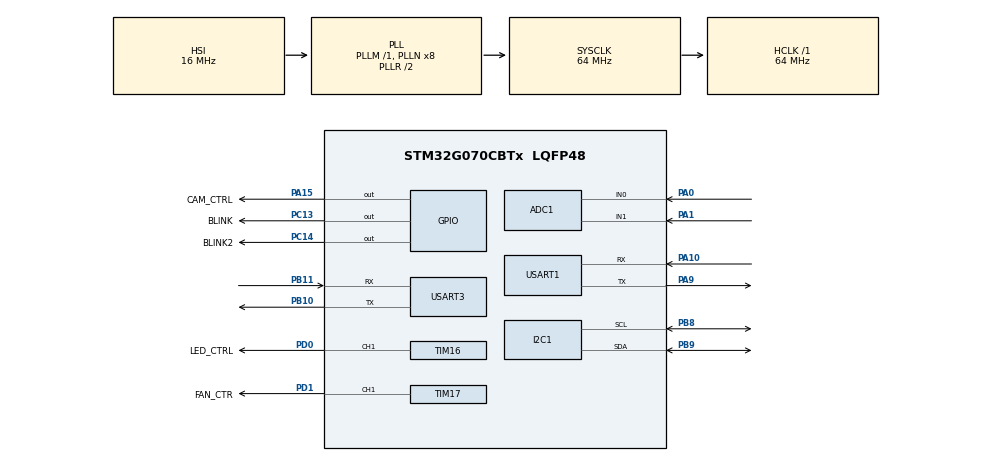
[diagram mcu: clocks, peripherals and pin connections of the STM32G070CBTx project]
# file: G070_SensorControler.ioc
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ADC1.Channel-0\#ChannelRegularConversion=ADC_CHANNEL_0
ADC1.Channel-1\#ChannelRegularConversion=ADC_CHANNEL_1
ADC1.ContinuousConvMode=ENABLE
ADC1.DMAContinuousRequests=ENABLE
ADC1.NbrOfConversion=2
ADC1.NbrOfConversionFlag=1
ADC1.Overrun=ADC_OVR_DATA_OVERWRITTEN
ADC1.Rank-0\#ChannelRegularConversion=1
ADC1.Rank-1\#ChannelRegularConversion=2
ADC1.SamplingTime-0\#ChannelRegularConversion=ADC_SAMPLINGTIME_COMMON_1
ADC1.SamplingTime-1\#ChannelRegularConversion=ADC_SAMPLINGTIME_COMMON_1
ADC1.SamplingTimeCommon1=ADC_SAMPLETIME_160CYCLES_5
ADC1.SamplingTimeCommon2=ADC_SAMPLETIME_19CYCLES_5
ADC1.SelectedChannel=ADC_CHANNEL_0|ADC_CHANNEL_1
ADC1.master=1
Dma.ADC1.0.Direction=DMA_PERIPH_TO_MEMORY
Dma.ADC1.0.EventEnable=DISABLE
Dma.ADC1.0.Instance=DMA1_Channel1
Dma.ADC1.0.MemDataAlignment=DMA_MDATAALIGN_HALFWORD
Dma.ADC1.0.MemInc=DMA_MINC_ENABLE
Dma.ADC1.0.Mode=DMA_CIRCULAR
Dma.ADC1.0.PeriphDataAlignment=DMA_PDATAALIGN_HALFWORD
Dma.ADC1.0.PeriphInc=DMA_PINC_DISABLE
Dma.ADC1.0.Polarity=HAL_DMAMUX_REQ_GEN_RISING
Dma.ADC1.0.Priority=DMA_PRIORITY_LOW
Dma.ADC1.0.RequestNumber=1
Dma.ADC1.0.SignalID=NONE
Dma.ADC1.0.SyncEnable=DISABLE
Dma.ADC1.0.SyncPolarity=HAL_DMAMUX_SYNC_NO_EVENT
Dma.ADC1.0.SyncRequestNumber=1
Dma.ADC1.0.SyncSignalID=NONE
Dma.Request0=ADC1
I2C1.Timing=0x10707DBC
IWDG.Prescaler=IWDG_PRESCALER_32
IWDG.Reload=1000
Mcu.Family=STM32G0
Mcu.Name=STM32G070CBTx
Mcu.Package=LQFP48
NVIC.DMA1_Channel1_IRQn=true\:0\:0\:false\:false\:true\:false\:true\:true
NVIC.TIM3_IRQn=true\:0\:0\:false\:false\:true\:true\:true\:true
NVIC.USART1_IRQn=true\:0\:0\:false\:false\:true\:true\:true\:true
NVIC.USART3_4_IRQn=true\:0\:0\:false\:false\:true\:true\:true\:true
PA0.Mode=IN0
PA0.Signal=ADC1_IN0
PA1.Mode=IN1
PA1.Signal=ADC1_IN1
PA10.Mode=Asynchronous
PA10.Signal=USART1_RX
PA13.Mode=Serial_Wire
PA13.Signal=SYS_SWDIO
PA14-BOOT0.Mode=Serial_Wire
PA14-BOOT0.Signal=SYS_SWCLK
PA15.GPIO_Label=CAM_CTRL
PA15.PinState=GPIO_PIN_SET
PA15.Signal=GPIO_Output
PA9.Mode=Asynchronous
PA9.Signal=USART1_TX
PB10.Mode=Asynchronous
PB10.Signal=USART3_TX
PB11.Mode=Asynchronous
PB11.Signal=USART3_RX
PB8.Mode=I2C
PB8.Signal=I2C1_SCL
PB9.Mode=I2C
PB9.Signal=I2C1_SDA
PC13.GPIO_Label=BLINK
PC13.PinState=GPIO_PIN_SET
PC13.Signal=GPIO_Output
PC14-OSC32_IN\ (PC14).GPIO_Label=BLINK2
PC14-OSC32_IN\ (PC14).PinState=GPIO_PIN_SET
PC14-OSC32_IN\ (PC14).Signal=GPIO_Output
PD0.GPIO_Label=LED_CTRL
PD0.Signal=S_TIM16_CH1
PD1.GPIO_Label=FAN_CTR
PD1.Signal=S_TIM17_CH1
ProjectManager.HeapSize=0x200
ProjectManager.StackSize=0x400
ProjectManager.TargetToolchain=MDK-ARM V5.32
RCC.ADCFreq_Value=64000000
RCC.AHBFreq_Value=64000000
RCC.CortexFreq_Value=64000000
RCC.EXTERNAL_CLOCK_VALUE=48000
RCC.HCLKFreq_Value=64000000
RCC.HSE_VALUE=8000000
RCC.HSI_VALUE=16000000
RCC.LSE_VALUE=32768
RCC.SYSCLKFreq_VALUE=64000000
RCC.SYSCLKSource=RCC_SYSCLKSOURCE_PLLCLK
RCC.VCOOutputFreq_Value=128000000
SH.S_TIM16_CH1.0=TIM16_CH1,PWM Generation1 CH1
SH.S_TIM17_CH1.0=TIM17_CH1,PWM Generation1 CH1
TIM16.Channel=TIM_CHANNEL_1
TIM16.Period=999
TIM16.Prescaler=6400-1
TIM16.Pulse=500
TIM17.Channel=TIM_CHANNEL_1
TIM17.Period=99
TIM17.Prescaler=6400-1
TIM3.Period=9999
TIM3.Prescaler=6400-1
USART1.VirtualMode-Asynchronous=VM_ASYNC
USART3.VirtualMode-Asynchronous=VM_ASYNC
VP_IWDG_VS_IWDG.Mode=IWDG_Activate
VP_SYS_VS_DBSignals.Mode=DisableDeadBatterySignals
VP_TIM16_VS_ClockSourceINT.Mode=Enable_Timer
VP_TIM17_VS_ClockSourceINT.Mode=Enable_Timer
VP_TIM3_VS_ClockSourceINT.Mode=Internal
board=custom

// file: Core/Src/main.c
/* USER CODE BEGIN Header */
/**
 ******************************************************************************
 * @file           : main.c
 * @brief          : Main program body
 ******************************************************************************
 * @attention
 *
 * Copyright (c) 2023 STMicroelectronics.
 * All rights reserved.
 *
 * This software is licensed under terms that can be found in the LICENSE file
 * in the root directory of this software component.
 * If no LICENSE file comes with this software, it is provided AS-IS.
 *
 ******************************************************************************
 */
/* USER CODE END Header */
#include "main.h"
#include "adc.h"
#include "dma.h"
#include "i2c.h"
#include "iwdg.h"
#include "tim.h"
#include "usart.h"
#include "gpio.h"

/* USER CODE BEGIN Includes */
#include <math.h>
#include <string.h>
#include "chry_ringbuffer.h"
#include "stdio.h"
/* USER CODE END Includes */

/* USER CODE BEGIN PD */
#define SYS_LOG_OUT 1
/* USER CODE END PD */

void SystemClock_Config(void);

/* USER CODE BEGIN 0 */

#define DIGITAL_SCALE_12BITS ((uint32_t)0xFFF)

/* Init variable out of ADC expected conversion data range */
#define VAR_CONVERTED_DATA_INIT_VALUE (DIGITAL_SCALE_12BITS + 1)

/* Definition of ADCx conversions data table size */
#define ADC_CONVERTED_DATA_BUFFER_SIZE ((uint32_t)2)
/* Variables for ADC conversion data */
__IO uint16_t aADCxConvertedData[ADC_CONVERTED_DATA_BUFFER_SIZE]; /* ADC group regular conversion data (array of data) */

struct __statusData
{
  uint8_t cam_power;
  uint8_t fan_power;
  uint8_t led_power;
  uint8_t alarm_timUP;
  uint16_t AHT20_humidity; // 100.00  ->2
  uint16_t AHT20_temperature;
  uint16_t NTC1_temperature;
  uint16_t NTC2_temperature;
} sysStatusData;

uint8_t powerControlFunc()
{
  static uint8_t f_cam_power = 1, f_fan_power = 0, f_led_power = 0;

  if (sysStatusData.cam_power != f_cam_power)
  {
    if (sysStatusData.cam_power)
    {
      HAL_GPIO_WritePin(CAM_CTRL_GPIO_Port, CAM_CTRL_Pin, GPIO_PIN_SET);
    }
    else
    {
      HAL_GPIO_WritePin(CAM_CTRL_GPIO_Port, CAM_CTRL_Pin, GPIO_PIN_RESET);
    }
  }
  if (sysStatusData.led_power != f_led_power)
  {
    // if (0 == sysStatusData.led_power)
    // {
    //   HAL_GPIO_WritePin(LED_CTRL_GPIO_Port, LED_CTRL_Pin, GPIO_PIN_SET);
    // }
    // else
    // {
    //   HAL_GPIO_WritePin(LED_CTRL_GPIO_Port, LED_CTRL_Pin, GPIO_PIN_RESET);
    // }
    // 10Hz
    if (0 == sysStatusData.led_power)
    {
      // 100%
      __HAL_TIM_SET_AUTORELOAD(&htim16, 999);
      __HAL_TIM_SET_COMPARE(&htim16, TIM_CHANNEL_1, 998);
    }
    else if (1 == sysStatusData.led_power)
    {
      // 0%
      __HAL_TIM_SET_COMPARE(&htim16, TIM_CHANNEL_1, 0);
    }
    else if (2 == sysStatusData.led_power)
    {
      // 5Hz 50%
      __HAL_TIM_SET_AUTORELOAD(&htim16, 1000 * 2 - 1);
      __HAL_TIM_SET_COMPARE(&htim16, TIM_CHANNEL_1, 1000);
    }
    else if (3 == sysStatusData.led_power)
    {
      // 1Hz  50%
      __HAL_TIM_SET_AUTORELOAD(&htim16, 10000 - 1);
      __HAL_TIM_SET_COMPARE(&htim16, TIM_CHANNEL_1, 5000);
    }
    else if (4 == sysStatusData.led_power)
    {
      // 0.5Hz 10%
      __HAL_TIM_SET_AUTORELOAD(&htim16, 10000 * 2 - 1);
      __HAL_TIM_SET_COMPARE(&htim16, TIM_CHANNEL_1, 2000);
    }
  }
  if (sysStatusData.fan_power != f_fan_power)
  {
    if (sysStatusData.fan_power >= 9)
      sysStatusData.fan_power = 9;

    __HAL_TIM_SET_COMPARE(&htim17, TIM_CHANNEL_1, 10 * sysStatusData.fan_power);
  }

  f_cam_power = sysStatusData.cam_power;
  f_fan_power = sysStatusData.fan_power;
  f_led_power = sysStatusData.led_power;

  return 1;
}
uint8_t BLINK_SYS_LED(uint16_t Tcounter)
{
  static uint16_t tick = 0;

  if (tick >= Tcounter)
  {
    HAL_GPIO_TogglePin(BLINK_GPIO_Port, BLINK_Pin);
    HAL_GPIO_TogglePin(BLINK2_GPIO_Port, BLINK2_Pin);
    tick = 0;
#if SYS_LOG_OUT
    printf("\r\n-----SYS INFO-----\r\n");
    printf("sysStatusData.cam_power=%d\n", sysStatusData.cam_power);
    printf("sysStatusData.fan_power=%d\n", sysStatusData.fan_power);
    printf("sysStatusData.led_power=%d\n", sysStatusData.led_power);
    printf("sysStatusData.AHT20_temperature=%d.%d\n", sysStatusData.AHT20_temperature / 100, sysStatusData.AHT20_temperature % 100);
    printf("sysStatusData.AHT20_humidity=%d.%d\n", sysStatusData.AHT20_humidity / 100, sysStatusData.AHT20_humidity % 100);
    printf("sysStatusData.NTC1_temperature=%d.%d\n", sysStatusData.NTC1_temperature / 100, sysStatusData.NTC1_temperature % 100);
    printf("sysStatusData.NTC2_temperature=%d.%d\n", sysStatusData.NTC2_temperature / 100, sysStatusData.NTC2_temperature % 100);
#endif
  }
  else
  {
    tick++;
  }

  return 1;
}
void ADC_APP_Init()
{
  /* Run the ADC calibration */
  if (HAL_ADCEx_Calibration_Start(&hadc1) != HAL_OK)
  {
    /* Calibration Error */
    Error_Handler();
  }

  /*## Start ADC conversions ###############################################*/
  /* Start ADC group regular conversion with DMA */
  if (HAL_ADC_Start_DMA(&hadc1,
                        (uint32_t *)aADCxConvertedData,
                        ADC_CONVERTED_DATA_BUFFER_SIZE) != HAL_OK)
  {
    /* ADC conversion start error */
    Error_Handler();
  }

  //  while (1)
  //  {
  //    HAL_Delay(1000);
  //    printf("aADCxConvertedData[0]=%d,vo1=%.2f\r\n", aADCxConvertedData[0], aADCxConvertedData[0] * 3.3f / 4095.0);
  //    printf("aADCxConvertedData[1]=%d,vo2=%.2f\r\n", aADCxConvertedData[1], aADCxConvertedData[1] * 3.3f / 4095.0);
  //  }
}

/**
Bֵ��
v/3.3=R/(R+10K)
**/
uint8_t ADCTempTransfer_NTC(void)
{
  const float Rp = 10000.0f; // 10K
  const float T2 = (273.15f + 25.0f);
  ;                         // T2
  const float Bx = 3950.0f; // B
  const float Ka = 273.15f;
  float Rt;
  float temp;
  float mvoltage[2];
  for (uint8_t i = 0; i < 2; i++)
  {
    mvoltage[i] = aADCxConvertedData[i] * 3.3f / 4095.0;
    Rt = 10000.0 * mvoltage[i] / 3.3 / (1.0 - mvoltage[i] / 3.3);
    //	Rt = Get_TempResistor();
    // like this R=5000, T2=273.15+25,B=3470, RT=5000*EXP(3470*(1/T1-1/(273.15+25)),
    temp = Rt / Rp;
    temp = log(temp); // ln(Rt/Rp)
    temp /= Bx;       // ln(Rt/Rp)/B
    temp += (1.0 / T2);
    temp = 1.0 / (temp);
    temp -= Ka;

    if ((uint16_t)(temp) >= 500)
      continue;
    if (0 == i)
    {

      sysStatusData.NTC1_temperature = (uint16_t)(temp * 100);
    }
    else if (1 == i)
    {
      sysStatusData.NTC2_temperature = (uint16_t)(temp * 100);
    }
  }

  return 1;
}
void I2C_Device_Identity()
{
  while (1)
  {
    printf("\nI2C init\n");
    uint8_t data[10];
    for (uint8_t i = 0; i < 255; i++)
    {
      uint8_t re = HAL_I2C_Mem_Read(&hi2c1, i, 0, I2C_MEMADD_SIZE_8BIT, data, 1, 0xff);
      if (re == HAL_OK)
        printf("0x%02x ", i);
    }
    printf("\nI2C finish\n");
    HAL_Delay(500);
  }
}

uint8_t CheckCrc8(uint8_t *pDat, uint8_t Lenth)
{
  __IO uint8_t crc = 0xff, i, j;

  for (i = 0; i < Lenth; i++)
  {
    crc = crc ^ *pDat;
    for (j = 0; j < 8; j++)
    {
      if (crc & 0x80)
        crc = (crc << 1) ^ 0x31;
      else
        crc <<= 1;
    }
    pDat++;
  }
  return crc;
}
#define I2C_AHT20_ADDRESS_W 0X70
#define I2C_AHT20_ADDRESS_R 0X71
void AHT20_READ_MACHINE()
{

  __IO uint8_t ReadByte[7];
  uint8_t DATA[2] = {0x33, 0x00};
  uint8_t re;
  uint32_t read_Data;
  float RH, TEMP;
  uint8_t sendbuffer[3] = {0xAC, 0x33, 0x00};
  uint8_t readBuffer[6];

  re = HAL_I2C_Master_Transmit(&hi2c1, I2C_AHT20_ADDRESS_W, sendbuffer, 3, HAL_MAX_DELAY);
  if (re == HAL_OK)
  {
    //    printf("OK:IDLE\n");
  }
  HAL_Delay(75);
  re = HAL_I2C_Master_Receive(&hi2c1, I2C_AHT20_ADDRESS_R, ReadByte, 7, HAL_MAX_DELAY);
  if (re == HAL_OK)
  {
    if ((ReadByte[0] & 0x80) == 0x00)
    {
      //      uint32_t data = 0;
      //      data = ((uint32_t)ReadByte[3] >> 4) + ((uint32_t)ReadByte[2] << 4) + ((uint32_t)ReadByte[1] << 12);
      //      RH = data * 100.0f / (1 << 20);
      //      data = (((uint32_t)ReadByte[3] & 0X0F) << 16) + ((uint32_t)ReadByte[4] << 8) + ((uint32_t)ReadByte[5]);
      //      // sysStatusData.AHT20_humidity = (uint16_t)(RH * 100);
      //      printf("RH=%f\r\n", RH);

      //      TEMP = data * 200.0f / (1 << 20) - 50;
      //      printf("TEMP=%f\r\n", TEMP);
      // sysStatusData.AHT20_temperature = (uint16_t)(TEMP * 100);

      if ((CheckCrc8(ReadByte, 6) == ReadByte[6]) && ((ReadByte[0] & 0x98) == 0x18))
      {
        read_Data = ReadByte[1] * 65536 + ReadByte[2] * 256 + ReadByte[3];
        RH = (read_Data >> 4) * 100.0 / 1048576;

        //        printf("RH2=%f\r\n", RH);
        sysStatusData.AHT20_humidity = (uint16_t)(RH * 100);
        read_Data = 0;
        read_Data = (ReadByte[3] & 0x0F) * 65536 + ReadByte[4] * 256 + ReadByte[5];
        TEMP = read_Data * 200.0 / 1048576 - 50;
        //        printf("TEMP2=%f\r\n", TEMP);
        sysStatusData.AHT20_temperature = (uint16_t)(TEMP * 100);
      }
    }
  }
}
#define AHT20_ADDRESS 0x70
// AHT20的初始化函数
void AHT20_Init()
{
  uint8_t readbuffer;                                                           // 用于接收状态信息
  HAL_Delay(40);                                                                // 延时40ms，因为第一步的上电后要等待40ms
  HAL_I2C_Master_Receive(&hi2c1, AHT20_ADDRESS, &readbuffer, 1, HAL_MAX_DELAY); // 上面介绍了函数的参数作用
  if ((readbuffer & 0x08) == 0x00)                                              //根据手册，首先要看状态字的校准使能位Bit[3]是否为 1(通过发送 0x71可以获取一个字节的状态字)，如果不为1，\
		 要发送0xBE命令(初 始化)，此命令参数有两个字节， 第一个字节为0x08，第二个字节 为0x00。
  {
    uint8_t sendbuffer[3] = {0xBE, 0x08, 0x00};
    HAL_I2C_Master_Transmit(&hi2c1, AHT20_ADDRESS, sendbuffer, 3, HAL_MAX_DELAY);
  }
}
void AHT20_Read(float *Temperature, float *Humidity) // 读取温湿度的函数
{
  uint8_t sendbuffer[3] = {0xAC, 0x33, 0x00};
  uint8_t readBuffer[6];

  HAL_I2C_Master_Transmit(&hi2c1, AHT20_ADDRESS, sendbuffer, 3, HAL_MAX_DELAY);

  HAL_Delay(75);

  HAL_I2C_Master_Receive(&hi2c1, AHT20_ADDRESS + 1, readBuffer, 6, HAL_MAX_DELAY);
  if ((readBuffer[0] & 0x80) == 0x00)
  {
    uint32_t data = 0;

    data = ((uint32_t)readBuffer[3] >> 4) + ((uint32_t)readBuffer[2] << 4) + ((uint32_t)readBuffer[1] << 12);
    *Humidity = data * 100.0f / (1 << 20);
    data = (((uint32_t)readBuffer[3] & 0X0F) << 16) + ((uint32_t)readBuffer[4] << 8) + ((uint32_t)readBuffer[5]);

    *Temperature = data * 200.0f / (1 << 20) - 50;
  }
}

chry_ringbuffer_t UART3rb;
uint8_t UART3mempool[128];
void UART3_Init()
{
  LL_USART_EnableIT_RXNE(USART3);
  /**
   * �????要注意的点是，init 函数第三个参数是内存池的大小（字节为单位�????
   * 也是ringbuffer的深度，必须�???? 2 的幂次！！！�????
   * 例如 4�????16�????32�????64�????128�????1024�????8192�????65536�????
   */
  if (0 == chry_ringbuffer_init(&UART3rb, UART3mempool, 128))
  {
    printf("UART3mempool success\r\n");
  }
  else
  {
    printf("UART3mempool error\r\n");
  }
}
void UART3_SendString(uint8_t *str)
{
  while (*str != '\0')
  {
    while (!LL_USART_IsActiveFlag_TXE(USART3))
      ;
    /* Echo received character on TX */
    LL_USART_TransmitData8(USART3, *str);
    str++;
  }
}

uint8_t uart_task_handle2()
{
  uint8_t data[128];
  uint8_t index = 0;
  uint8_t senddata[50];
  char tempcomArray[][5] = {"ON", "OFF"};
  char *ptr;
  uint8_t len = chry_ringbuffer_read(&UART3rb, data, 50);
  if (len)
  {
    printf("\r\n[C] read success, read %d byte\r\n", len);
    data[50] = '\0';
    printf("%s\r\n", data);
    if (strstr(data, "powerStatus") != NULL)
    {
      sprintf(senddata, "Status,%d,%d,%d,OK\n", sysStatusData.cam_power,
              sysStatusData.led_power, sysStatusData.fan_power);
      UART3_SendString(senddata);
      printf(senddata);
    }
    else if (strstr(data, "sensorData") != NULL)
    {
      sprintf(senddata, "SENSOR,%.1f,%.1f,%.1f,%.1f,OK\n", sysStatusData.NTC1_temperature / 100.0, sysStatusData.NTC2_temperature / 100.0,
              sysStatusData.AHT20_temperature / 100.0, sysStatusData.AHT20_humidity / 100.0);
      UART3_SendString(senddata);
      printf(senddata);
    }
    else if (strstr(data, "SET") != NULL)
    {
      ptr = strchr(data, 'A');
      if (ptr != NULL)
      {
        printf("set cam: %c\n", *(ptr + 1));
        sysStatusData.cam_power = *(ptr + 1) - '0';
      }
      ptr = strchr(data, 'B');
      if (ptr != NULL)
      {
        printf("set led: %c\n", *(ptr + 1));
        sysStatusData.led_power = *(ptr + 1) - '0';
      }

      // ptr=strchr(data,'C');
      // if(ptr != NULL){
      //   uint8_t temp= *(ptr+1)-'0';
      // 	printf("set fan: %d\n", temp);
      // 	sysStatusData.fan_power=temp;
      // }

      sprintf(senddata, "Status,%d,%d,%d,OK\n", sysStatusData.cam_power,
              sysStatusData.led_power, sysStatusData.fan_power);
      UART3_SendString(senddata);
      printf(senddata);
    }
  }

  if (1 == sysStatusData.alarm_timUP)
  {
    printf("\r\n1\r\n");
    sysStatusData.alarm_timUP = 2;
    sprintf(senddata, "Status,%d,%d,%d,OK\n", sysStatusData.cam_power,
            sysStatusData.led_power, sysStatusData.fan_power);
    UART3_SendString(senddata);
    printf(senddata);
  }
  else if (2 == sysStatusData.alarm_timUP)
  {
    printf("\r\n2\r\n");
    sysStatusData.alarm_timUP = 0;
    sprintf(senddata, "SENSOR,%.1f,%.1f,%.1f,%.1f,OK\n", sysStatusData.NTC1_temperature / 100.0, sysStatusData.NTC2_temperature / 100.0,
            sysStatusData.AHT20_temperature / 100.0, sysStatusData.AHT20_humidity / 100.0);
    UART3_SendString(senddata);
    printf(senddata);
  }

  // 加入迟滞比较器
  //  static uint8_t fan_run=0;
  uint8_t t_temp1 = sysStatusData.AHT20_temperature / 100;
  uint8_t t_temp2 = sysStatusData.NTC1_temperature / 100;
  uint8_t t_temp3 = sysStatusData.NTC2_temperature / 100;
  uint8_t tt_temperature = t_temp1 > t_temp2 ? t_temp1 : t_temp2;
  tt_temperature = tt_temperature > t_temp3 ? tt_temperature : t_temp3;
  if (tt_temperature >= 55)
  {
    //    fan_run &=0x2;
    sysStatusData.fan_power = 9;
  }
  else if (tt_temperature >= 45)
  {
    //    fan_run &=0x1;
    sysStatusData.fan_power = 5;
  }
  else if (tt_temperature <= 40)
  {
    //    //低2位清零
    //    fan_run &=0XFC;
    sysStatusData.fan_power = 0;
  }

  // else if(sysStatusData.AHT20_temperature / 100 <= 30)
  // {
  //   fan_run =0;
  // }

  /*
    if (sysStatusData.AHT20_temperature / 100 >= 40 || sysStatusData.NTC1_temperature / 100 >= 40 || sysStatusData.NTC2_temperature / 100 >= 40)
    {
      sysStatusData.fan_power = 1;
    }
    else if (sysStatusData.AHT20_temperature / 100 >= 50 || sysStatusData.NTC1_temperature / 100 >= 50 || sysStatusData.NTC2_temperature / 100 >= 50)
    {
      sysStatusData.fan_power = 9;
    }
    else
    {
      sysStatusData.fan_power = 0;
    }
  */

  return 1;
}

/*
AHT20温湿度读�????-》NTC温度解析-》串口数据解析与发�??-》电源控�????-》blink
*/
enum
{
  IDLE = 0,
  AHT20_READ_STATUS = 1,
  NTC_TEMP_READ_STATUS = 2,
  USART_DATA_ANALYSIS_STATUS = 3,
  POWER_CONTROL_STATUS = 4,
  BLINK_STATUS = 5
} MachineStatus;

void UART3_DEMO()
{
  char data[128];
  //	uart3ReceivedHandler();
  while (1)
  {
    uint32_t len = chry_ringbuffer_read(&UART3rb, data, 50);
    if (len)
    {
      printf("[C] read success, read %d byte\r\n", len);
      data[50] = '\0';
      printf("%s\r\n", data);
    }
    else
    {
      //            printf("[C] read faild, no data in ringbuffer\r\n");
    }
    //				UART3_SendString("HELLO\n");
    HAL_Delay(1000);
  }
}
void HAL_TIM_PeriodElapsedCallback(TIM_HandleTypeDef *htim)
{
  static uint8_t tickUp = 0;
  if (htim->Instance == TIM3)
  {
    if (tickUp < 59)
      tickUp++;
    else
    {
      tickUp = 0;
      sysStatusData.alarm_timUP = 1;
    }
  }
}

/* USER CODE END 0 */

int main(void)
{

  /* MCU Configuration--------------------------------------------------------*/

  /* Reset of all peripherals, Initializes the Flash interface and the Systick. */
  HAL_Init();

  /* Configure the system clock */
  SystemClock_Config();

  /* Initialize all configured peripherals */
  MX_GPIO_Init();
  MX_DMA_Init();
  MX_USART1_UART_Init();
  MX_USART3_UART_Init();
  MX_ADC1_Init();
  MX_I2C1_Init();
  MX_TIM17_Init();
  MX_IWDG_Init();
  MX_TIM3_Init();
  MX_TIM16_Init();
  /* USER CODE BEGIN 2 */
  printf("\r\nsensor controller start\r\n");
  UART3_Init();
  //	UART3_DEMO();
  UART3_SendString("Restart\n");
  HAL_TIM_PWM_Start(&htim17, TIM_CHANNEL_1);
  HAL_TIM_PWM_Start(&htim16, TIM_CHANNEL_1);
    uint8_t com_value=20;
  //  __HAL_TIM_SET_COMPARE(&htim17,TIM_CHANNEL_1,com_value);
  //  uartProtocolTransmit(0xf01,0xf00);
  //  I2C_Device_Identity();
  ADC_APP_Init();
  sysStatusData.cam_power = 1;
  sysStatusData.alarm_timUP = 0;
  HAL_TIM_Base_Start_IT(&htim3);
  sysStatusData.led_power = 1 ;
  //	sysStatusData.fan_power=50;
  //  float temp, hum;
  AHT20_Init();
  if (HAL_IWDG_Refresh(&hiwdg) != HAL_OK)
  {
    /* Refresh Error */
    Error_Handler();
  }
  //  while (1)
  //  {
  //    AHT20_Read(&temp, &hum);
  //    printf("temp=%.2f,hum=%.2f\r\n", temp, hum);
  //    HAL_Delay(1000);
  //  }
  __IO uint8_t aht20_read_delay = 0;
  //	while(1)
  //	{
  //	    HAL_GPIO_TogglePin(BLINK_GPIO_Port, BLINK_Pin);
  //    HAL_GPIO_TogglePin(BLINK2_GPIO_Port, BLINK2_Pin);
  //		HAL_Delay(100);
  //	}
  /* USER CODE END 2 */

  /* Infinite loop */
  while (1)
  {

    /* USER CODE BEGIN 3 */
    /*
      AHT20_READ_STATUS=1,
      NTC_TEMP_READ_STATUS=2,
      USART_DATA_ANALYSIS_STATUS=3,
      POWER_CONTROL_STATUS=4,
      BLINK_STATUS=5
    */
    switch (MachineStatus)
    {
    case IDLE:
      MachineStatus = AHT20_READ_STATUS;

      break;
    case AHT20_READ_STATUS:
      HAL_Delay(25);
      //      AHT20_READ_MACHINE();
      aht20_read_delay++;
      if (aht20_read_delay >= 80)
      {
        aht20_read_delay = 0;
        AHT20_READ_MACHINE();
      }

      MachineStatus = NTC_TEMP_READ_STATUS;
      break;

    case NTC_TEMP_READ_STATUS:
      if (1 == ADCTempTransfer_NTC())
      {

        MachineStatus = USART_DATA_ANALYSIS_STATUS;
      }
      break;
    case USART_DATA_ANALYSIS_STATUS:
      if (1 == uart_task_handle2())
      {
        MachineStatus = POWER_CONTROL_STATUS;
      }
      break;
    case POWER_CONTROL_STATUS:
      if (1 == powerControlFunc())
      {
        MachineStatus = BLINK_STATUS;
      }
      break;
    case BLINK_STATUS:
      if (1 == BLINK_SYS_LED(30))
      {
        MachineStatus = AHT20_READ_STATUS;

        if (HAL_IWDG_Refresh(&hiwdg) != HAL_OK)
        {
          /* Refresh Error */
          Error_Handler();
        }
      }

      break;
    default:
      break;
    }
    //     HAL_GPIO_TogglePin(BLINK_GPIO_Port, BLINK_Pin);
    //     HAL_Delay(500);
    //     HAL_GPIO_TogglePin(MAINB_CTRL_GPIO_Port, MAINB_CTRL_Pin);
    //     HAL_Delay(500);
    //     HAL_GPIO_TogglePin(MAINB_CTRL_GPIO_Port, CAM_CTRL_Pin);
    //     HAL_Delay(500);
    //     HAL_GPIO_TogglePin(MAINB_CTRL_GPIO_Port, LED_CTRL_Pin);
    //     HAL_Delay(500);
    // //    __HAL_TIM_SET_COMPARE(&htim17,TIM_CHANNEL_1,com_value);
    //     if(com_value<90)
    //     {
    //       com_value+=10;
    //     }
    //     else
    //     com_value=0;
    //     HAL_Delay(500);
  }
  /* USER CODE END 3 */
}

void SystemClock_Config(void)
{
  RCC_OscInitTypeDef RCC_OscInitStruct = {0};
  RCC_ClkInitTypeDef RCC_ClkInitStruct = {0};

  /** Configure the main internal regulator output voltage
   */
  HAL_PWREx_ControlVoltageScaling(PWR_REGULATOR_VOLTAGE_SCALE1);

  /** Initializes the RCC Oscillators according to the specified parameters
   * in the RCC_OscInitTypeDef structure.
   */
  RCC_OscInitStruct.OscillatorType = RCC_OSCILLATORTYPE_HSI | RCC_OSCILLATORTYPE_LSI;
  RCC_OscInitStruct.HSIState = RCC_HSI_ON;
  RCC_OscInitStruct.HSIDiv = RCC_HSI_DIV1;
  RCC_OscInitStruct.HSICalibrationValue = RCC_HSICALIBRATION_DEFAULT;
  RCC_OscInitStruct.LSIState = RCC_LSI_ON;
  RCC_OscInitStruct.PLL.PLLState = RCC_PLL_ON;
  RCC_OscInitStruct.PLL.PLLSource = RCC_PLLSOURCE_HSI;
  RCC_OscInitStruct.PLL.PLLM = RCC_PLLM_DIV1;
  RCC_OscInitStruct.PLL.PLLN = 8;
  RCC_OscInitStruct.PLL.PLLP = RCC_PLLP_DIV2;
  RCC_OscInitStruct.PLL.PLLR = RCC_PLLR_DIV2;
  if (HAL_RCC_OscConfig(&RCC_OscInitStruct) != HAL_OK)
  {
    Error_Handler();
  }

  /** Initializes the CPU, AHB and APB buses clocks
   */
  RCC_ClkInitStruct.ClockType = RCC_CLOCKTYPE_HCLK | RCC_CLOCKTYPE_SYSCLK | RCC_CLOCKTYPE_PCLK1;
  RCC_ClkInitStruct.SYSCLKSource = RCC_SYSCLKSOURCE_PLLCLK;
  RCC_ClkInitStruct.AHBCLKDivider = RCC_SYSCLK_DIV1;
  RCC_ClkInitStruct.APB1CLKDivider = RCC_HCLK_DIV1;

  if (HAL_RCC_ClockConfig(&RCC_ClkInitStruct, FLASH_LATENCY_2) != HAL_OK)
  {
    Error_Handler();
  }
}

void Error_Handler(void)
{
  __disable_irq();
  while (1)
  {
  }
}
